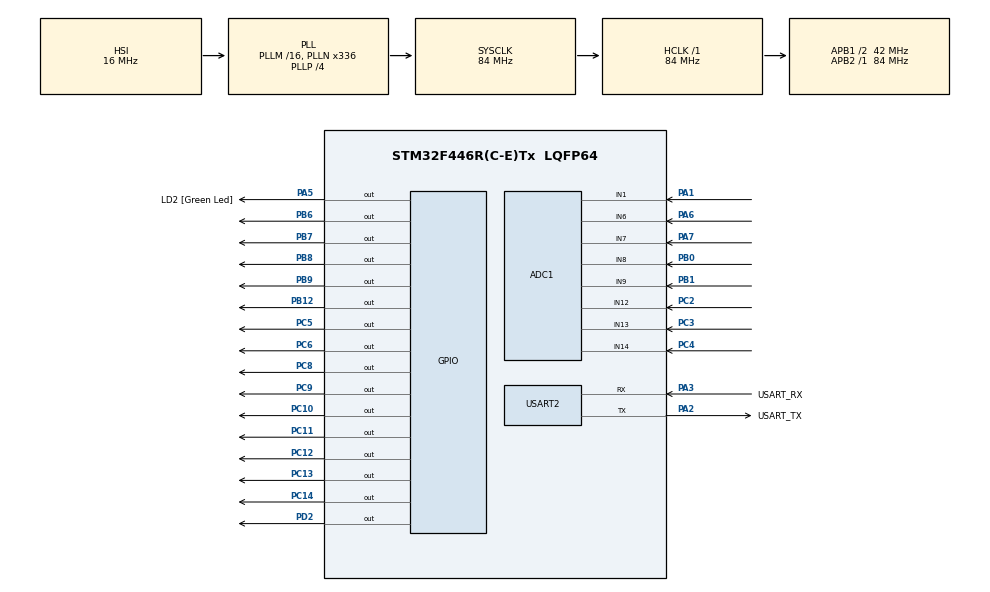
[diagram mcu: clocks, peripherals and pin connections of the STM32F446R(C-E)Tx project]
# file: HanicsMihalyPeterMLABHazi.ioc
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ADC1.Channel-0\#ChannelRegularConversion=ADC_CHANNEL_6
ADC1.Channel-1\#ChannelRegularConversion=ADC_CHANNEL_1
ADC1.Channel-2\#ChannelRegularConversion=ADC_CHANNEL_7
ADC1.Channel-3\#ChannelRegularConversion=ADC_CHANNEL_8
ADC1.Channel-4\#ChannelRegularConversion=ADC_CHANNEL_9
ADC1.Channel-5\#ChannelRegularConversion=ADC_CHANNEL_12
ADC1.Channel-6\#ChannelRegularConversion=ADC_CHANNEL_14
ADC1.Channel-7\#ChannelRegularConversion=ADC_CHANNEL_13
ADC1.ContinuousConvMode=ENABLE
ADC1.NbrOfConversion=8
ADC1.NbrOfConversionFlag=1
ADC1.Rank-0\#ChannelRegularConversion=1
ADC1.Rank-1\#ChannelRegularConversion=2
ADC1.Rank-2\#ChannelRegularConversion=3
ADC1.Rank-3\#ChannelRegularConversion=4
ADC1.Rank-4\#ChannelRegularConversion=5
ADC1.Rank-5\#ChannelRegularConversion=6
ADC1.Rank-6\#ChannelRegularConversion=7
ADC1.Rank-7\#ChannelRegularConversion=8
ADC1.SamplingTime-0\#ChannelRegularConversion=ADC_SAMPLETIME_56CYCLES
ADC1.SamplingTime-1\#ChannelRegularConversion=ADC_SAMPLETIME_56CYCLES
ADC1.SamplingTime-2\#ChannelRegularConversion=ADC_SAMPLETIME_56CYCLES
ADC1.SamplingTime-3\#ChannelRegularConversion=ADC_SAMPLETIME_56CYCLES
ADC1.SamplingTime-4\#ChannelRegularConversion=ADC_SAMPLETIME_56CYCLES
ADC1.SamplingTime-5\#ChannelRegularConversion=ADC_SAMPLETIME_56CYCLES
ADC1.SamplingTime-6\#ChannelRegularConversion=ADC_SAMPLETIME_56CYCLES
ADC1.SamplingTime-7\#ChannelRegularConversion=ADC_SAMPLETIME_56CYCLES
ADC1.ScanConvMode=ENABLE
ADC1.master=1
Mcu.Family=STM32F4
Mcu.Name=STM32F446R(C-E)Tx
Mcu.Package=LQFP64
NVIC.PriorityGroup=NVIC_PRIORITYGROUP_0
NVIC.USART2_IRQn=true\:0\:0\:false\:false\:true\:true\:true\:true
PA1.Signal=ADCx_IN1
PA13.GPIO_Label=TMS
PA13.Mode=Serial_Wire
PA13.Signal=SYS_JTMS-SWDIO
PA14.GPIO_Label=TCK
PA14.Mode=Serial_Wire
PA14.Signal=SYS_JTCK-SWCLK
PA2.GPIO_Label=USART_TX
PA2.Mode=Asynchronous
PA2.Signal=USART2_TX
PA3.GPIO_Label=USART_RX
PA3.Mode=Asynchronous
PA3.Signal=USART2_RX
PA5.GPIO_Label=LD2 [Green Led]
PA5.Signal=GPIO_Output
PA6.Signal=ADCx_IN6
PA7.Signal=ADCx_IN7
PB0.Signal=ADCx_IN8
PB1.Signal=ADCx_IN9
PB12.Signal=GPIO_Output
PB3.GPIO_Label=SWO
PB3.Signal=SYS_JTDO-SWO
PB6.Signal=GPIO_Output
PB7.Signal=GPIO_Output
PB8.Signal=GPIO_Output
PB9.Signal=GPIO_Output
PC10.Signal=GPIO_Output
PC11.Signal=GPIO_Output
PC12.Signal=GPIO_Output
PC13.Signal=GPIO_Output
PC14-OSC32_IN.Signal=GPIO_Output
PC2.Signal=ADCx_IN12
PC3.Signal=ADCx_IN13
PC4.Signal=ADCx_IN14
PC5.Signal=GPIO_Output
PC6.Signal=GPIO_Output
PC8.Signal=GPIO_Output
PC9.Signal=GPIO_Output
PD2.Signal=GPIO_Output
PH0-OSC_IN.Mode=HSE-External-Oscillator
PH0-OSC_IN.Signal=RCC_OSC_IN
PH1-OSC_OUT.Mode=HSE-External-Oscillator
PH1-OSC_OUT.Signal=RCC_OSC_OUT
ProjectManager.HeapSize=0x200
ProjectManager.StackSize=0x400
ProjectManager.TargetToolchain=STM32CubeIDE
RCC.48MHZClocksFreq_Value=84000000
RCC.AHBFreq_Value=84000000
RCC.APB1CLKDivider=RCC_HCLK_DIV2
RCC.APB1Freq_Value=42000000
RCC.APB1TimFreq_Value=84000000
RCC.APB2Freq_Value=84000000
RCC.APB2TimFreq_Value=84000000
RCC.CortexFreq_Value=84000000
RCC.FLatency-AdvancedSettings=FLASH_LATENCY_2
RCC.HCLKFreq_Value=84000000
RCC.HSE_VALUE=8000000
RCC.HSI_VALUE=16000000
RCC.PLLN=336
RCC.PLLP=RCC_PLLP_DIV4
RCC.SYSCLKFreq_VALUE=84000000
RCC.SYSCLKSource=RCC_SYSCLKSOURCE_PLLCLK
RCC.USBFreq_Value=168000000
RCC.VCOOutputFreq_Value=336000000
SH.ADCx_IN1.0=ADC1_IN1,IN1
SH.ADCx_IN12.0=ADC1_IN12,IN12
SH.ADCx_IN13.0=ADC1_IN13,IN13
SH.ADCx_IN14.0=ADC1_IN14,IN14
SH.ADCx_IN6.0=ADC1_IN6,IN6
SH.ADCx_IN7.0=ADC1_IN7,IN7
SH.ADCx_IN8.0=ADC1_IN8,IN8
SH.ADCx_IN9.0=ADC1_IN9,IN9
USART2.VirtualMode=VM_ASYNC
board=NUCLEO-F446RE

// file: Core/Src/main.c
/* USER CODE BEGIN Header */
/**
  ******************************************************************************
  * @file           : main.c
  * @brief          : Main program body
  ******************************************************************************
  * @attention
  *
  * Copyright (c) 2022 STMicroelectronics.
  * All rights reserved.
  *
  * This software is licensed under terms that can be found in the LICENSE file
  * in the root directory of this software component.
  * If no LICENSE file comes with this software, it is provided AS-IS.
  *
  ******************************************************************************
  */
/* USER CODE END Header */
#include "main.h"

/* USER CODE BEGIN Includes */
#include <stdlib.h> //vagy stdio.h kell?
#include <string.h>
#include <math.h>
#include "sensors.h"
#include "digoutputs.h"
#include "lcd2x16.h"
/* USER CODE END Includes */

/* USER CODE BEGIN PTD */

enum States{
	firstNumber,
	clearORsetBrightness,
	secondNumber,
	overError,
	resultOnDisplay
};

/* USER CODE END PTD */

 ADC_HandleTypeDef hadc1;

UART_HandleTypeDef huart2;

/* USER CODE BEGIN PV */

ADC_ChannelConfTypeDef ADC_Channels; //ADC-hez kell

AnalogValuesType analogValues; //Ebben taroljuk analog ertekeket
storedValuesType storedValues;
enum States mainstate = firstNumber;
int cntrPWM=0;
double PWMLVL=0.875; //lehet inkabb int
double result;

// Egyetlen bájtos adatfogadási buffer
char rxBuffer;
// Ide másoljuk a küldés alatt álló stringet. Az UART_SendString() használja.
#define TXBUFFERSIZE 255
char txBuffer[TXBUFFERSIZE];
uint8_t lastReceivedUartCommand = 0;

//Signal1: PB6, Signal2: PC14

/* USER CODE END PV */

void SystemClock_Config(void);
static void MX_GPIO_Init(void);
static void MX_USART2_UART_Init(void);
static void MX_ADC1_Init(void);
/* USER CODE BEGIN PFP */

HAL_StatusTypeDef UART_Init();
HAL_StatusTypeDef UART_SendString(char *str);
void HAL_UART_RxCpltCallback(UART_HandleTypeDef *handle);

void UARTSettings(char* str);
static void LCD2x16_Init(void);
static void TimerandPWM_Init(void);

void GetAnalogValues(void); //ezutan hivjuk meg ketszer, kulonbozo signallal a setHalfOfArrayValues-t
void ADConversion(void);

void calcPWM(void);
void DelayWithPWM(int delay);
double power(double num, int pow);
double shortendoubleto16digits(double r);
void setLCDstringbydouble(double r);

//State Functions
void FirstNumberStateFunction(void);

//outputLCDType CommandTypeToOutputLCDType(commandType command, uint32_t vo_pwm, uint32_t enable, uint32_t a_pwm);
//outputLCDType ClearScreen(void);
	//numberToLCD
void ClearOrSetBrightnessStateFunction(void); //Here we simply set the brightness level, the current PWM values are decided at the end of the loop (pinek: 8 illetve 12)
void SecondNumberStateFunction(void);
void OverErrorStateFunction(void);
void ResultOnDisplayStateFunction(void);

/* USER CODE END PFP */

/* USER CODE BEGIN 0 */

/*      **PUBLIKUS VALTOZOK**       */
outputLCDType outputLCD; //biztos?
commandType command;
char LCDstring[20]; //16db karakter + \n + \0

/* USER CODE END 0 */

int main(void)
{
  /* USER CODE BEGIN 1 */

	//char msgUART[17] = {'\0','\0','\0','\0','\0','\0','\0','\0',   '\0','\0','\0','\0','\0','\0','\0','\0'   ,'\0'};; //UARThoz   //FONTOS ATGONNDOLI LEZARO 0-T
	//int darknessLvl = 0;

	storedValues.storedChar='0';
	storedValues.firstStoredNumber=0;
	storedValues.secondStoredNumber=0;
	storedValues.statusDot=0;

	strcpy(LCDstring," ");

	/* USER CODE END 1 */

  /* MCU Configuration--------------------------------------------------------*/

  /* Reset of all peripherals, Initializes the Flash interface and the Systick. */
  HAL_Init();

  /* Configure the system clock */
  SystemClock_Config();

  /* Initialize all configured peripherals */
  MX_GPIO_Init();
  MX_USART2_UART_Init();
  MX_ADC1_Init();
  /* USER CODE BEGIN 2 */
  TimerandPWM_Init();
  LCD2x16_Init();
  UART_Init(); //?

  /* USER CODE END 2 */

  /* Infinite loop */
  /* USER CODE BEGIN WHILE */
  while (1)
  {

	//HAL_GPIO_WritePin(GPIOA, GPIO_PIN_5, GPIO_PIN_SET); //LED

	ADConversion();

	HAL_Delay(1);
	setOutputPin(RS_PIN, 1); //For writing characters
	HAL_Delay(1);

	//WriteLCDChar(1, 0, 'F'); //TESZTKOD
	//HAL_Delay(2000);

	//strcpy(LCDstring,"first test\n"); //EZ MUKODIK!
	//strcat(LCDstring, "+");

	  //lekerdezni bemeneteket + aktualizalas sensors.c valtozojanak, itt kell csak hasznalni a signalt
	 switch(mainstate){
	 	 case firstNumber :
	 		 FirstNumberStateFunction();
	 		 setLCDstringbydoublewithNewline(storedValues.firstStoredNumber);
	 		 break;
	 	 case clearORsetBrightness :
	 		 ClearOrSetBrightnessStateFunction();
	 		 strcpy(LCDstring,"Clear?\n");
	 		 break;
	 	 case secondNumber :
	 		 SecondNumberStateFunction();
	 		 setLCDstringbydoublewithNewline(storedValues.secondStoredNumber);
	 		 break;
	 	 case overError :
	 		 OverErrorStateFunction();
	 		 strcpy(LCDstring,"OverError!\n");
	 		 break;
	 	 case resultOnDisplay:

	 		 ResultOnDisplayStateFunction();
	 		 setLCDstringbydoublewithNewline(shortendoubleto16digits(result));
	 		 break;
	 }

	UART_SendString(LCDstring);

	cntrPWM++;
	if (cntrPWM>31)
		cntrPWM=0;

    /* USER CODE END WHILE */

    /* USER CODE BEGIN 3 */
  } //end of while
  /* USER CODE END 3 */
}

void SystemClock_Config(void)
{
  RCC_OscInitTypeDef RCC_OscInitStruct = {0};
  RCC_ClkInitTypeDef RCC_ClkInitStruct = {0};

  /** Configure the main internal regulator output voltage
  */
  __HAL_RCC_PWR_CLK_ENABLE();
  __HAL_PWR_VOLTAGESCALING_CONFIG(PWR_REGULATOR_VOLTAGE_SCALE3);

  /** Initializes the RCC Oscillators according to the specified parameters
  * in the RCC_OscInitTypeDef structure.
  */
  RCC_OscInitStruct.OscillatorType = RCC_OSCILLATORTYPE_HSI;
  RCC_OscInitStruct.HSIState = RCC_HSI_ON;
  RCC_OscInitStruct.HSICalibrationValue = RCC_HSICALIBRATION_DEFAULT;
  RCC_OscInitStruct.PLL.PLLState = RCC_PLL_ON;
  RCC_OscInitStruct.PLL.PLLSource = RCC_PLLSOURCE_HSI;
  RCC_OscInitStruct.PLL.PLLM = 16;
  RCC_OscInitStruct.PLL.PLLN = 336;
  RCC_OscInitStruct.PLL.PLLP = RCC_PLLP_DIV4;
  RCC_OscInitStruct.PLL.PLLQ = 2;
  RCC_OscInitStruct.PLL.PLLR = 2;
  if (HAL_RCC_OscConfig(&RCC_OscInitStruct) != HAL_OK)
  {
    Error_Handler();
  }

  /** Initializes the CPU, AHB and APB buses clocks
  */
  RCC_ClkInitStruct.ClockType = RCC_CLOCKTYPE_HCLK|RCC_CLOCKTYPE_SYSCLK
                              |RCC_CLOCKTYPE_PCLK1|RCC_CLOCKTYPE_PCLK2;
  RCC_ClkInitStruct.SYSCLKSource = RCC_SYSCLKSOURCE_PLLCLK;
  RCC_ClkInitStruct.AHBCLKDivider = RCC_SYSCLK_DIV1;
  RCC_ClkInitStruct.APB1CLKDivider = RCC_HCLK_DIV2;
  RCC_ClkInitStruct.APB2CLKDivider = RCC_HCLK_DIV1;

  if (HAL_RCC_ClockConfig(&RCC_ClkInitStruct, FLASH_LATENCY_2) != HAL_OK)
  {
    Error_Handler();
  }
}

static void MX_ADC1_Init(void)
{

  ADC_ChannelConfTypeDef sConfig = {0};

  /** Configure the global features of the ADC (Clock, Resolution, Data Alignment and number of conversion)
  */
  hadc1.Instance = ADC1;
  hadc1.Init.ClockPrescaler = ADC_CLOCK_SYNC_PCLK_DIV4;
  hadc1.Init.Resolution = ADC_RESOLUTION_12B;
  hadc1.Init.ScanConvMode = ENABLE;
  hadc1.Init.ContinuousConvMode = ENABLE;
  hadc1.Init.DiscontinuousConvMode = DISABLE;
  hadc1.Init.ExternalTrigConvEdge = ADC_EXTERNALTRIGCONVEDGE_NONE;
  hadc1.Init.ExternalTrigConv = ADC_SOFTWARE_START;
  hadc1.Init.DataAlign = ADC_DATAALIGN_RIGHT;
  hadc1.Init.NbrOfConversion = 1;  //ATIRVA 1-RE        ATIRVA 1-RE        ATIRVA 1-RE        ATIRVA 1-RE        ATIRVA 1-RE        ATIRVA 1-RE        ATIRVA 1-RE        ATIRVA 1-RE
  hadc1.Init.DMAContinuousRequests = DISABLE;
  hadc1.Init.EOCSelection = ADC_EOC_SINGLE_CONV;
  if (HAL_ADC_Init(&hadc1) != HAL_OK)
  {
    Error_Handler();
  }

  //               SAJAT KIKOMMENTELES                 SAJAT KIKOMMENTELES                SAJAT KIKOMMENTELES                SAJAT KIKOMMENTELES                SAJAT KIKOMMENTELES
  // /** Configure for the selected ADC regular channel its corresponding rank in the sequencer and its sample time.
  // */
  // sConfig.Channel = ADC_CHANNEL_6;
  // sConfig.Rank = 1;
  // sConfig.SamplingTime = ADC_SAMPLETIME_56CYCLES;
  // if (HAL_ADC_ConfigChannel(&hadc1, &sConfig) != HAL_OK)
  // {
  //   Error_Handler();
  // }

  // /** Configure for the selected ADC regular channel its corresponding rank in the sequencer and its sample time.
  // */
  // sConfig.Channel = ADC_CHANNEL_1;
  // sConfig.Rank = 2;
  // if (HAL_ADC_ConfigChannel(&hadc1, &sConfig) != HAL_OK)
  // {
  //   Error_Handler();
  // }

  // /** Configure for the selected ADC regular channel its corresponding rank in the sequencer and its sample time.
  // */
  // sConfig.Channel = ADC_CHANNEL_7;
  // sConfig.Rank = 3;
  // if (HAL_ADC_ConfigChannel(&hadc1, &sConfig) != HAL_OK)
  // {
  //   Error_Handler();
  // }

  /** Configure for the selected ADC regular channel its corresponding rank in the sequencer and its sample time.
  */
  // sConfig.Channel = ADC_CHANNEL_8;
  // sConfig.Rank = 4;
  // if (HAL_ADC_ConfigChannel(&hadc1, &sConfig) != HAL_OK)
  // {
  //   Error_Handler();
  // }

//  /** Configure for the selected ADC regular channel its corresponding rank in the sequencer and its sample time.
//  */
//  sConfig.Channel = ADC_CHANNEL_9;
//  sConfig.Rank = 5;
//  if (HAL_ADC_ConfigChannel(&hadc1, &sConfig) != HAL_OK)
//  {
//    Error_Handler();
//  }
//
//  /** Configure for the selected ADC regular channel its corresponding rank in the sequencer and its sample time.
//  */
//  sConfig.Channel = ADC_CHANNEL_12;
//  sConfig.Rank = 6;
//  if (HAL_ADC_ConfigChannel(&hadc1, &sConfig) != HAL_OK)
//  {
//    Error_Handler();
//  }
//
//  /** Configure for the selected ADC regular channel its corresponding rank in the sequencer and its sample time.
//  */
//  sConfig.Channel = ADC_CHANNEL_14;
//  sConfig.Rank = 7;
//  if (HAL_ADC_ConfigChannel(&hadc1, &sConfig) != HAL_OK)
//  {
//    Error_Handler();
//  }
//
//  /** Configure for the selected ADC regular channel its corresponding rank in the sequencer and its sample time.
//  */
//  sConfig.Channel = ADC_CHANNEL_13;
//  sConfig.Rank = 8;
//  if (HAL_ADC_ConfigChannel(&hadc1, &sConfig) != HAL_OK)
//  {
//    Error_Handler();
//  }
  /* USER CODE BEGIN ADC1_Init 2 */

  //KIKOMMENTELTEM GENERALT KODBOL A CONFIGURATION-T ES HELYETTE MAINBEN DOLGOZOK, ATIRTAM NUMBER OF CONVERSIONT 8-ROL 1-RE******************************************************************************************************************************************
  // EZ ALAPJAN:https://www.youtube.com/watch?v=5l-b6lsubBE											***********************************************************************************************************************************************************************

  /* USER CODE END ADC1_Init 2 */

}

static void MX_USART2_UART_Init(void)
{

  huart2.Instance = USART2;
  huart2.Init.BaudRate = 115200;
  huart2.Init.WordLength = UART_WORDLENGTH_8B;
  huart2.Init.StopBits = UART_STOPBITS_1;
  huart2.Init.Parity = UART_PARITY_NONE;
  huart2.Init.Mode = UART_MODE_TX_RX;
  huart2.Init.HwFlowCtl = UART_HWCONTROL_NONE;
  huart2.Init.OverSampling = UART_OVERSAMPLING_16;
  if (HAL_UART_Init(&huart2) != HAL_OK)
  {
    Error_Handler();
  }

}

static void MX_GPIO_Init(void)
{
  GPIO_InitTypeDef GPIO_InitStruct = {0};

  /* GPIO Ports Clock Enable */
  __HAL_RCC_GPIOC_CLK_ENABLE();
  __HAL_RCC_GPIOH_CLK_ENABLE();
  __HAL_RCC_GPIOA_CLK_ENABLE();
  __HAL_RCC_GPIOB_CLK_ENABLE();
  __HAL_RCC_GPIOD_CLK_ENABLE();

  /*Configure GPIO pin Output Level */
  HAL_GPIO_WritePin(GPIOC, GPIO_PIN_13|GPIO_PIN_14|GPIO_PIN_5|GPIO_PIN_6
                          |GPIO_PIN_8|GPIO_PIN_9|GPIO_PIN_10|GPIO_PIN_11
                          |GPIO_PIN_12, GPIO_PIN_RESET);

  /*Configure GPIO pin Output Level */
  HAL_GPIO_WritePin(LD2_GPIO_Port, LD2_Pin, GPIO_PIN_RESET);

  /*Configure GPIO pin Output Level */
  HAL_GPIO_WritePin(GPIOB, GPIO_PIN_12|GPIO_PIN_6|GPIO_PIN_7|GPIO_PIN_8
                          |GPIO_PIN_9, GPIO_PIN_RESET);

  /*Configure GPIO pin Output Level */
  HAL_GPIO_WritePin(GPIOD, GPIO_PIN_2, GPIO_PIN_RESET);

  /*Configure GPIO pins : PC13 PC14 PC5 PC6
                           PC8 PC9 PC10 PC11
                           PC12 */
  GPIO_InitStruct.Pin = GPIO_PIN_13|GPIO_PIN_14|GPIO_PIN_5|GPIO_PIN_6
                          |GPIO_PIN_8|GPIO_PIN_9|GPIO_PIN_10|GPIO_PIN_11
                          |GPIO_PIN_12;
  GPIO_InitStruct.Mode = GPIO_MODE_OUTPUT_PP;
  GPIO_InitStruct.Pull = GPIO_NOPULL;
  GPIO_InitStruct.Speed = GPIO_SPEED_FREQ_LOW;
  HAL_GPIO_Init(GPIOC, &GPIO_InitStruct);

  /*Configure GPIO pin : LD2_Pin */
  GPIO_InitStruct.Pin = LD2_Pin;
  GPIO_InitStruct.Mode = GPIO_MODE_OUTPUT_PP;
  GPIO_InitStruct.Pull = GPIO_NOPULL;
  GPIO_InitStruct.Speed = GPIO_SPEED_FREQ_LOW;
  HAL_GPIO_Init(LD2_GPIO_Port, &GPIO_InitStruct);

  /*Configure GPIO pins : PB12 PB6 PB7 PB8
                           PB9 */
  GPIO_InitStruct.Pin = GPIO_PIN_12|GPIO_PIN_6|GPIO_PIN_7|GPIO_PIN_8
                          |GPIO_PIN_9;
  GPIO_InitStruct.Mode = GPIO_MODE_OUTPUT_PP;
  GPIO_InitStruct.Pull = GPIO_NOPULL;
  GPIO_InitStruct.Speed = GPIO_SPEED_FREQ_LOW;
  HAL_GPIO_Init(GPIOB, &GPIO_InitStruct);

  /*Configure GPIO pin : PD2 */
  GPIO_InitStruct.Pin = GPIO_PIN_2;
  GPIO_InitStruct.Mode = GPIO_MODE_OUTPUT_PP;
  GPIO_InitStruct.Pull = GPIO_NOPULL;
  GPIO_InitStruct.Speed = GPIO_SPEED_FREQ_LOW;
  HAL_GPIO_Init(GPIOD, &GPIO_InitStruct);

}

/* USER CODE BEGIN 4 */

HAL_StatusTypeDef UART_Init(){
	MX_USART2_UART_Init();

	HAL_UART_Receive_IT(&huart2, (uint8_t*) &rxBuffer, 1 );

}
HAL_StatusTypeDef UART_SendString(char *str){
	while(huart2.gState!= HAL_UART_STATE_READY && huart2.gState!=  HAL_UART_STATE_BUSY_RX );

	strncpy(txBuffer,str,TXBUFFERSIZE);
	HAL_UART_Transmit_IT(&huart2,(uint8_t* )txBuffer,strlen(txBuffer));

}
void HAL_UART_RxCpltCallback(UART_HandleTypeDef *handle){
	if(handle == &huart2){
		lastReceivedUartCommand=(uint8_t) rxBuffer;
		HAL_UART_Receive_IT(handle,(uint8_t*) &rxBuffer,1);

	}
}

void UARTSettings(char* str){
 //
}

void GetAnalogValues(){

	ADC_ChannelConfTypeDef sConfig = {0};

	  /** Configure for the selected ADC regular channel its corresponding rank in the sequencer and its sample time.
	  */
	  sConfig.Channel = ADC_CHANNEL_6;
	  sConfig.Rank = 1;
	  sConfig.SamplingTime = ADC_SAMPLETIME_56CYCLES;
	  if (HAL_ADC_ConfigChannel(&hadc1, &sConfig) != HAL_OK)
	  {
	    Error_Handler();
	  }

	  HAL_ADC_Start(&hadc1);
	  HAL_ADC_PollForConversion(&hadc1, 10);
	  analogValues.irs12 = HAL_ADC_GetValue(&hadc1)*3.3/4096;
	  HAL_ADC_Stop(&hadc1);

	  /** Configure for the selected ADC regular channel its corresponding rank in the sequencer and its sample time.
	  */
	  sConfig.Channel = ADC_CHANNEL_1;
	  //sConfig.Rank = 2;
	  if (HAL_ADC_ConfigChannel(&hadc1, &sConfig) != HAL_OK)
	  {
	    Error_Handler();
	  }

	  HAL_ADC_Start(&hadc1);
	  HAL_ADC_PollForConversion(&hadc1, 10);
	  analogValues.irs3plus = HAL_ADC_GetValue(&hadc1)*3.3/4096;
	  HAL_ADC_Stop(&hadc1);

	  /** Configure for the selected ADC regular channel its corresponding rank in the sequencer and its sample time.
	  */
	  sConfig.Channel = ADC_CHANNEL_7;
	  //sConfig.Rank = 3;
	  if (HAL_ADC_ConfigChannel(&hadc1, &sConfig) != HAL_OK)
	  {
	    Error_Handler();
	  }

	  HAL_ADC_Start(&hadc1);
	  HAL_ADC_PollForConversion(&hadc1, 10);
	  analogValues.irs45 = HAL_ADC_GetValue(&hadc1)*3.3/4096;
	  HAL_ADC_Stop(&hadc1);

	  /** Configure for the selected ADC regular channel its corresponding rank in the sequencer and its sample time.
	  */
	  sConfig.Channel = ADC_CHANNEL_8;
	  //sConfig.Rank = 4;
	  if (HAL_ADC_ConfigChannel(&hadc1, &sConfig) != HAL_OK)
	  {
	    Error_Handler();
	  }

	  HAL_ADC_Start(&hadc1);
	  HAL_ADC_PollForConversion(&hadc1, 10);
	  analogValues.irs6minus = HAL_ADC_GetValue(&hadc1)*3.3/4096;
	  HAL_ADC_Stop(&hadc1);

	  /** Configure for the selected ADC regular channel its corresponding rank in the sequencer and its sample time.
	  */
	  sConfig.Channel = ADC_CHANNEL_9;
	  //sConfig.Rank = 5;
	  if (HAL_ADC_ConfigChannel(&hadc1, &sConfig) != HAL_OK)
	  {
	    Error_Handler();
	  }

	  HAL_ADC_Start(&hadc1);
	  HAL_ADC_PollForConversion(&hadc1, 10);
	  analogValues.irs78 = HAL_ADC_GetValue(&hadc1)*3.3/4096;
	  HAL_ADC_Stop(&hadc1);
	  /** Configure for the selected ADC regular channel its corresponding rank in the sequencer and its sample time.
	  */
	  sConfig.Channel = ADC_CHANNEL_12;
	  //sConfig.Rank = 6;
	  if (HAL_ADC_ConfigChannel(&hadc1, &sConfig) != HAL_OK)
	  {
	    Error_Handler();
	  }

	  HAL_ADC_Start(&hadc1);
	  HAL_ADC_PollForConversion(&hadc1, 10);
	  analogValues.irs9x = HAL_ADC_GetValue(&hadc1)*3.3/4096;
	  HAL_ADC_Stop(&hadc1);

	  /** Configure for the selected ADC regular channel its corresponding rank in the sequencer and its sample time.
	  */
	  sConfig.Channel = ADC_CHANNEL_14;
	  //sConfig.Rank = 7;
	  if (HAL_ADC_ConfigChannel(&hadc1, &sConfig) != HAL_OK)
	  {
	    Error_Handler();
	  }

	  HAL_ADC_Start(&hadc1);
	  HAL_ADC_PollForConversion(&hadc1, 10);
	  analogValues.irs0dot = HAL_ADC_GetValue(&hadc1)*3.3/4096;
	  HAL_ADC_Stop(&hadc1);

	  /** Configure for the selected ADC regular channel its corresponding rank in the sequencer and its sample time.
	  */
	  sConfig.Channel = ADC_CHANNEL_13;
	  //sConfig.Rank = 8;
	  if (HAL_ADC_ConfigChannel(&hadc1, &sConfig) != HAL_OK)
	  {
	    Error_Handler();
	  }

	  HAL_ADC_Start(&hadc1);
	  HAL_ADC_PollForConversion(&hadc1, 10);
	  analogValues.irsequaldivide = HAL_ADC_GetValue(&hadc1)*3.3/4096;
	  HAL_ADC_Stop(&hadc1);

} //End of GetAnalogValues() function

void ADConversion(void){
	HAL_GPIO_WritePin(GPIOC, GPIO_PIN_14, GPIO_PIN_RESET); //Signal2
	HAL_GPIO_WritePin(GPIOB, GPIO_PIN_6, GPIO_PIN_SET); //Signal1
	HAL_Delay(10);

	GetAnalogValues();
	//setHalfOfArrayValues(analogValues, 0);
	setBitCalcArrayValues(analogValues);

	/*HAL_GPIO_WritePin(GPIOB, GPIO_PIN_6, GPIO_PIN_RESET); //Signal1
	HAL_GPIO_WritePin(GPIOC, GPIO_PIN_14, GPIO_PIN_SET); //Signal2   //LAB NEM MEGY 3.3V-BA!!!
	HAL_Delay(10);

	GetAnalogValues();
	setHalfOfArrayValues(analogValues, 1);

	HAL_GPIO_WritePin(GPIOC, GPIO_PIN_14, GPIO_PIN_RESET); //Signal2 */
}

void LCD2x16_Init(void)
{

	setOutputPin(RW_PIN,0);
	setOutputPin(E_PIN, 0);
	setOutputPin(RS_PIN,0);

	setOutputPin(A_PWM_PIN,1);
	setOutputPin(VO_PWM_PIN,1);

	HAL_Delay(60); //From the data sheet, setup time is at least 40ms after VDD reaches 2.7V and further initialization delays occur

	//1st step: Required initialization
	//1st command: 8 bit bus, 1 line display, 5x8   0  0 | 0 0 1 1 0 0 X X (RS RW DB7-DB0)

	WriteLCDBinary(0, 0, 0x30); //1st function set
	HAL_Delay(10);
	WriteLCDBinary(0, 0, 0x30); //2nd function set
	HAL_Delay(1);
	WriteLCDBinary(0, 0, 0x30); //3rd function set
	HAL_Delay(1);
	WriteLCDBinary(0, 0, 0x38);	//8 bit interface, 2 rows, 5x8 character font
	HAL_Delay(1);
	WriteLCDBinary(0, 0, 0x08);	//Display OFF
	HAL_Delay(1);
	WriteLCDBinary(0, 0, 0x01);	//Clear display
	HAL_Delay(1);
	WriteLCDBinary(0, 0, 0x06); //Entry mode: cursor to the right, no shifting
	HAL_Delay(1); //lehet talan tobb varakozas
	//WriteLCDBinary(0, 0, 0x0C); //Display on, no cursor
	WriteLCDBinary(0, 0, 0x0F); //Display on with cursor

} //End of LCDInit() function

static void TimerandPWM_Init(void){
	HAL_GPIO_WritePin(GPIOB, GPIO_PIN_6, GPIO_PIN_SET); //Signal1
	HAL_GPIO_WritePin(GPIOC, GPIO_PIN_14, GPIO_PIN_RESET); //Signal2

	HAL_GPIO_WritePin(GPIOB, GPIO_PIN_12, GPIO_PIN_SET);
	HAL_GPIO_WritePin(GPIOC, GPIO_PIN_13, GPIO_PIN_SET);
} //End of PWMInit() function

void calcPWM(void){
	int x = (int) 32*PWMLVL;
	int y = cntrPWM < x ? 1 : 0;
	setPWMPins(y, y);
}
void DelayWithPWM(int delay){
	int i=0;
	for (i=0; i< delay; i++){
		HAL_Delay(1);
		calcPWM();
		cntrPWM++;
		if (cntrPWM>31)
				cntrPWM=0;
	}
}

double power(double num, int pow){
	int i;
	double out=1;
	for(i=0;i<pow;i++){
		out=out*num;
	}
	return out;
}

double shortendoubleto16digits(double r){
	double x = r;
	double z;
	long long y;
	int k=0;
	int i;
	if(x==0)
		return 0;
	while (x<10000000000000000){
		x=x*10;
		k++;
	}
	x=x/10;  //Assuming given double wasn't bigger than 10^16-1 = 9999...99 (16 darab)
	y = (long long) x;
	x = y;
	z=x;
	//modf(x,&z);
	for(i=0;i<k-1;i++)
		z=z/10;
	return z;
}
void setLCDstringbydoublewithNewline(double r){
	char outer[16];
	snprintf(outer,16,"%f",r);
	strcpy(LCDstring,outer);
	strcat(LCDstring,"\n" );
}
char* doubletostring(double r){
	char copy[20];
	char outer[16];
	snprintf(outer,16,"%f",r);
	strcpy(copy,outer);
	return copy;
}
///////////////////////////////////////////////////////////////////////////////////////////////////////

void FirstNumberStateFunction(void){

	switch(storedValues.storedChar){
		case '0':
			storedValues.firstStoredNumber= storedValues.statusDot<1? 2*storedValues.firstStoredNumber + 0 : storedValues.firstStoredNumber + 0 * power(0.5, storedValues.statusDot);
			if(storedValues.statusDot>0)
				storedValues.statusDot++;

			setLCDstringbydoublewithNewline(storedValues.firstStoredNumber);
			UART_SendString(LCDstring);
			WriteLCDChar(1, 0, '0');
			DelayWithPWM(1500);
			ADConversion();
			storedValues.storedChar='s';
			break;
		case '1':
			storedValues.firstStoredNumber= storedValues.statusDot<1? 2*storedValues.firstStoredNumber + 1 : storedValues.firstStoredNumber + 1 * power(0.5, storedValues.statusDot);
			if(storedValues.statusDot>0)
				storedValues.statusDot++;
			setLCDstringbydoublewithNewline(storedValues.firstStoredNumber);
			UART_SendString(LCDstring);
			WriteLCDChar(1, 0, '1');
			DelayWithPWM(1500);
			ADConversion();
			storedValues.storedChar='s';
			break;

		case 'p':
			ClearScreen();
			ReturnHome();
			storedValues.storedChar='s';
			break;
		case 'c':
			ClearScreen();
			ReturnHome();
			strcpy(LCDstring,"CLEARING\n");
			UART_SendString(LCDstring);
			storedValues.firstStoredNumber=0;
			storedValues.statusDot=0;
			storedValues.secondStoredNumber=0;
			storedValues.storedChar='s';
			DelayWithPWM(800);
			break;
		default: break;

	}  //storedChar kezeles pl. 'n'-re eloszor kis delay

	//megnezni a bemenetek kozul van-e ami le van nyomva
	if(sensorArray.irs0>0)
		storedValues.storedChar='0';
	if(sensorArray.irs1>0)
		storedValues.storedChar='1';

	if(sensorArray.irsdot>0){
		if(storedValues.statusDot==0){
			storedValues.statusDot=1;
			WriteLCDChar(1, 0, '.');
		}

	}

	if(sensorArray.irsequal>0){
		mainstate = clearORsetBrightness;
		storedValues.storedChar='=';
	}

	if(sensorArray.irsplus>0){
		mainstate = secondNumber;
		storedValues.storedChar='+';
		storedValues.statusDot=0;
	}

	if(sensorArray.irsminus>0){
		mainstate = secondNumber;
		storedValues.storedChar='-';
		storedValues.statusDot=0;
	}
	if(sensorArray.irsx>0){
		mainstate = secondNumber;
		storedValues.storedChar='x';
		storedValues.statusDot=0;
	}
	if(sensorArray.irsdivide>0){
		mainstate = secondNumber;
		storedValues.storedChar='/';
		storedValues.statusDot=0;
	}

	if(storedValues.firstStoredNumber*power(10, storedValues.statusDot)>power(10, 16)-1){
		mainstate = overError;
		storedValues.storedChar='A';
	}
}

void ClearOrSetBrightnessStateFunction(void){
	switch(storedValues.storedChar){
		case '=':
			ClearScreen();
			WriteLCDChar(1, 0, 'C');
			WriteLCDChar(1, 0, 'l');
			WriteLCDChar(1, 0, 'e');
			WriteLCDChar(1, 0, 'a');
			WriteLCDChar(1, 0, 'r');
			WriteLCDChar(1, 0, '/');
			WriteLCDChar(1, 0, 'P');
			WriteLCDChar(1, 0, 'W');
			WriteLCDChar(1, 0, 'M');

			//TODO itt UART kuldes?
			DelayWithPWM(800);
			break;
		/*case '+':
			PWMLVL = 1 - (1-PWMLVL)/2 ;
			break;
		case '-':
			PWMLVL = 1 - (1-PWMLVL)*2 ;
			break;*/
		default: break;
	}

	if(sensorArray.irs0>0){
		mainstate = firstNumber;

		storedValues.storedChar='c';
	}
	if(sensorArray.irsdot>0){
		mainstate = firstNumber;
		storedValues.storedChar='p';
	}

}

void SecondNumberStateFunction(void){

	switch(storedValues.storedChar){

		case '+':
			WriteLCDChar(1, 0, '+');
			storedValues.storedChar='a';
			break;
		case '-':
			WriteLCDChar(1, 0, '-');
			storedValues.storedChar='t';
			break;
		case 'x':
			WriteLCDChar(1, 0, '*');
			storedValues.storedChar='m';
			break;
		case '/':
			WriteLCDChar(1, 0, '/');
			storedValues.storedChar='d';
			break;

		default: break; //cases 'a', 't', 'm', 'd'
	}

	if(sensorArray.irsdot>0){
			if(storedValues.statusDot==0){
				storedValues.statusDot=1;
				WriteLCDChar(1, 0, '.');
			}

	}

	if(sensorArray.irsequal>0 ){
		mainstate = resultOnDisplay;
	}

	if(sensorArray.irs0>0){
		storedValues.secondStoredNumber= storedValues.statusDot<1? 2*storedValues.secondStoredNumber + 0 : storedValues.secondStoredNumber + 0 * power(0.5, storedValues.statusDot);
		if(storedValues.statusDot>0)
			storedValues.statusDot++;
		WriteLCDChar(1, 0, '0');
		setLCDstringbydoublewithNewline(storedValues.secondStoredNumber); //TODO felturbozni hogy latszon muvelet
		UART_SendString(LCDstring);
		DelayWithPWM(1500);
	}

	if(sensorArray.irs1>0){
		storedValues.secondStoredNumber= storedValues.statusDot<1? 2*storedValues.secondStoredNumber + 1 : storedValues.secondStoredNumber + 1 * power(0.5, storedValues.statusDot);
		if(storedValues.statusDot>0)
			storedValues.statusDot++;
		WriteLCDChar(1, 0, '1');
		setLCDstringbydoublewithNewline(storedValues.secondStoredNumber);
		UART_SendString(LCDstring);
		DelayWithPWM(1500);
	}

	if(storedValues.secondStoredNumber*power(10, storedValues.statusDot)>power(10, 15)-1){ //TODO felturbozni
			mainstate = overError;
			storedValues.storedChar='B';
	}

}

void ResultOnDisplayStateFunction(void){
	Return2ndRow();
	switch(storedValues.storedChar){
		case 'a':
			if(storedValues.firstStoredNumber+storedValues.secondStoredNumber<power(10, 15)){
				NumberToLCD(storedValues.firstStoredNumber+storedValues.secondStoredNumber);
				result =storedValues.firstStoredNumber+storedValues.secondStoredNumber;
				setLCDstringbydoublewithNewline(result);
				UART_SendString(LCDstring);
				DelayWithPWM(1500);
				ADConversion();
				//esetleg 1st numberbe el is tarolni eredmenyt
				storedValues.storedChar='s';
			}
			else{
				mainstate = overError;
				storedValues.storedChar='C';
			}
			break;
		case 't':
				NumberToLCD(storedValues.firstStoredNumber-storedValues.secondStoredNumber);
				result =storedValues.firstStoredNumber-storedValues.secondStoredNumber;
				setLCDstringbydoublewithNewline(result);
				UART_SendString(LCDstring);

				DelayWithPWM(1500);
				ADConversion();
				storedValues.storedChar='s';
			break;
		case 'm':
			if(storedValues.firstStoredNumber*storedValues.secondStoredNumber<power(10, 15)){
				NumberToLCD(storedValues.firstStoredNumber*storedValues.secondStoredNumber);
				result =storedValues.firstStoredNumber*storedValues.secondStoredNumber;
				setLCDstringbydoublewithNewline(result);
				UART_SendString(LCDstring);

				DelayWithPWM(1500);
				ADConversion();
				storedValues.storedChar='s';
			}
			else{
				mainstate = overError;
				storedValues.storedChar='C';
			}
			break;
		case 'd':
			NumberToLCD(storedValues.firstStoredNumber/storedValues.secondStoredNumber);

			result =shortendoubleto16digits(storedValues.firstStoredNumber/storedValues.secondStoredNumber);
			setLCDstringbydoublewithNewline(result);
			UART_SendString(LCDstring);

			DelayWithPWM(1500);
			storedValues.storedChar='s';
			break;
	}
	if(sensorArray.irsdot>0 && storedValues.storedChar!='C'){
		DelayWithPWM(500);
		if(sensorArray.irsdot>0){
			DelayWithPWM(500);
			if(sensorArray.irsdot>0){
				mainstate=firstNumber;
				storedValues.storedChar='c';
			}
		}

	}
	if(sensorArray.irsplus>0 && storedValues.storedChar!='C'){
		mainstate=secondNumber;
		storedValues.storedChar='+';
		storedValues.statusDot=0;
		storedValues.firstStoredNumber+=storedValues.secondStoredNumber;
		storedValues.secondStoredNumber=0;
	}

	if(sensorArray.irsminus>0 && storedValues.storedChar!='C'){
		mainstate=secondNumber;
		storedValues.storedChar='-';
		storedValues.statusDot=0;
		storedValues.firstStoredNumber-=storedValues.secondStoredNumber;
		storedValues.secondStoredNumber=0;
	}
	if(sensorArray.irsx>0 && storedValues.storedChar!='C'){
		mainstate=secondNumber;
		storedValues.storedChar='x';
		storedValues.statusDot=0;
		storedValues.firstStoredNumber*=storedValues.secondStoredNumber;
		storedValues.secondStoredNumber=0;
	}
	if(sensorArray.irsdivide>0 && storedValues.storedChar!='C'){
		mainstate=secondNumber;
		storedValues.storedChar='/';
		storedValues.statusDot=0;
		storedValues.firstStoredNumber= shortendoubleto16digits(storedValues.firstStoredNumber / storedValues.secondStoredNumber);
		storedValues.secondStoredNumber=0;

	}
}

void OverErrorStateFunction(void){
	switch(storedValues.storedChar){
		case 'A':
			ClearScreen();
			WriteLCDChar(1, 0, 'T');
			WriteLCDChar(1, 0, 'U');
			WriteLCDChar(1, 0, 'L');
			WriteLCDChar(1, 0, ' ');
			WriteLCDChar(1, 0, 'N');
			WriteLCDChar(1, 0, 'A');
			WriteLCDChar(1, 0, 'G');
			WriteLCDChar(1, 0, 'Y');
			storedValues.storedChar='s';
			DelayWithPWM(1500);
			break;
		case 'B':
			ClearScreen();
			WriteLCDChar(1, 0, 'T');
			WriteLCDChar(1, 0, 'U');
			WriteLCDChar(1, 0, 'L');
			WriteLCDChar(1, 0, ' ');
			WriteLCDChar(1, 0, 'N');
			WriteLCDChar(1, 0, 'A');
			WriteLCDChar(1, 0, 'G');
			WriteLCDChar(1, 0, 'Y');
			storedValues.storedChar='s';
			DelayWithPWM(1500);
			break;
		case 'C':
			ClearScreen();
			WriteLCDChar(1, 0, 'T');
			WriteLCDChar(1, 0, 'U');
			WriteLCDChar(1, 0, 'L');
			WriteLCDChar(1, 0, ' ');
			WriteLCDChar(1, 0, 'N');
			WriteLCDChar(1, 0, 'A');
			WriteLCDChar(1, 0, 'G');
			WriteLCDChar(1, 0, 'Y');
			storedValues.storedChar='s';
			DelayWithPWM(1500);
			break;
		default: break;
	}

	if(sensorArray.irsdivide>0){
		mainstate = firstNumber;
		storedValues.storedChar='c';
	}

}

/* USER CODE END 4 */

void Error_Handler(void)
{
  __disable_irq();
  while (1)
  {
  }
}
